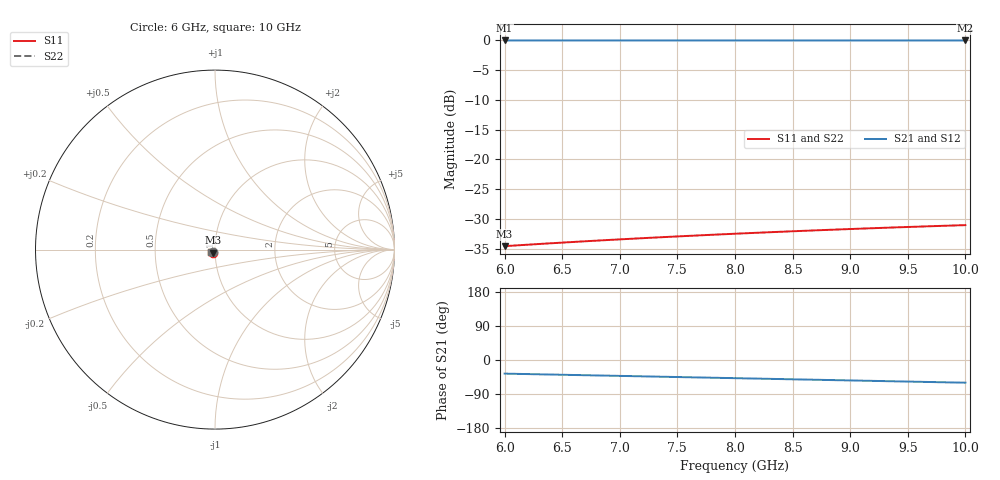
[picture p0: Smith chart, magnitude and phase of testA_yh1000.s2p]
! Touchstone file exported from HFSS 2024.2.0
!  File:  C:/Users/artho/Documents/Ansoft/ansys_testA.aedt
!  Generated:  01:04:44 AM Sep  7, 2026
!  Design:  HFSS_V4Y
!  Project:  ansys_testA
!  Setup:  Setup1
!  Solution:  Sweep1
!Data is not renormalized
# GHz S MA
! Terminal data exported
! Port[1] = p1
! Port[2] = p2
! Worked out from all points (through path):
!   41 points, 6 GHz to 10 GHz, reference per port
!   highest |S21| = 0.00 dB at 6 GHz (marker M1); lowest = 0.0 dB at 10 GHz (marker M2)
!   group delay of S21, straight-line fit = 16.6 ps
!   lowest |S11| = -34.6 dB at 6 GHz (marker M3), VSWR 1.04
!   |S11| at or under -10 dB: start of sweep to end of sweep
!   |S22| runs from -34.6 to -31.0 dB; largest |S21 - S12| = 3.3e-15
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6  0.01868 -118.0  0.9998 -36.0  0.9998 -36.0  0.01868 -133.9
6.1  0.01895 -118.8  0.9998 -36.6  0.9998 -36.6  0.01895 -134.3
6.3  0.01948 -120.3  0.9998 -37.8  0.9998 -37.8  0.01948 -135.2
6.5  0.02001 -121.8  0.9998 -39.0  0.9998 -39.0  0.02001 -136.1
6.7  0.02053 -123.4  0.9998 -40.2  0.9998 -40.2  0.02053 -137.0
6.8  0.02079 -124.1  0.9998 -40.8  0.9998 -40.8  0.02079 -137.4
7  0.0213 -125.6  0.9998 -41.9  0.9998 -41.9  0.0213 -138.3
7.2  0.02181 -127.1  0.9998 -43.1  0.9998 -43.1  0.02181 -139.2
7.4  0.0223 -128.5  0.9998 -44.3  0.9998 -44.3  0.0223 -140.2
7.7  0.02304 -130.7  0.9997 -46.1  0.9997 -46.1  0.02304 -141.6
8  0.02376 -132.8  0.9997 -47.9  0.9997 -47.9  0.02376 -143.0
8.2  0.02422 -134.3  0.9997 -49.1  0.9997 -49.1  0.02422 -144.0
8.4  0.02468 -135.7  0.9997 -50.3  0.9997 -50.3  0.02468 -145.0
8.7  0.02536 -137.8  0.9997 -52.1  0.9997 -52.1  0.02536 -146.5
8.9  0.0258 -139.2  0.9997 -53.3  0.9997 -53.3  0.0258 -147.5
9.1  0.02623 -140.6  0.9997 -54.5  0.9997 -54.5  0.02623 -148.5
9.3  0.02665 -142.0  0.9996 -55.7  0.9996 -55.7  0.02665 -149.5
9.4  0.02686 -142.7  0.9996 -56.3  0.9996 -56.3  0.02686 -150.0
9.6  0.02727 -144.0  0.9996 -57.5  0.9996 -57.5  0.02727 -151.0
9.7  0.02747 -144.7  0.9996 -58.1  0.9996 -58.1  0.02747 -151.5
9.9  0.02787 -146.1  0.9996 -59.3  0.9996 -59.3  0.02787 -152.6
10  0.02807 -146.8  0.9996 -59.9  0.9996 -59.9  0.02807 -153.1
